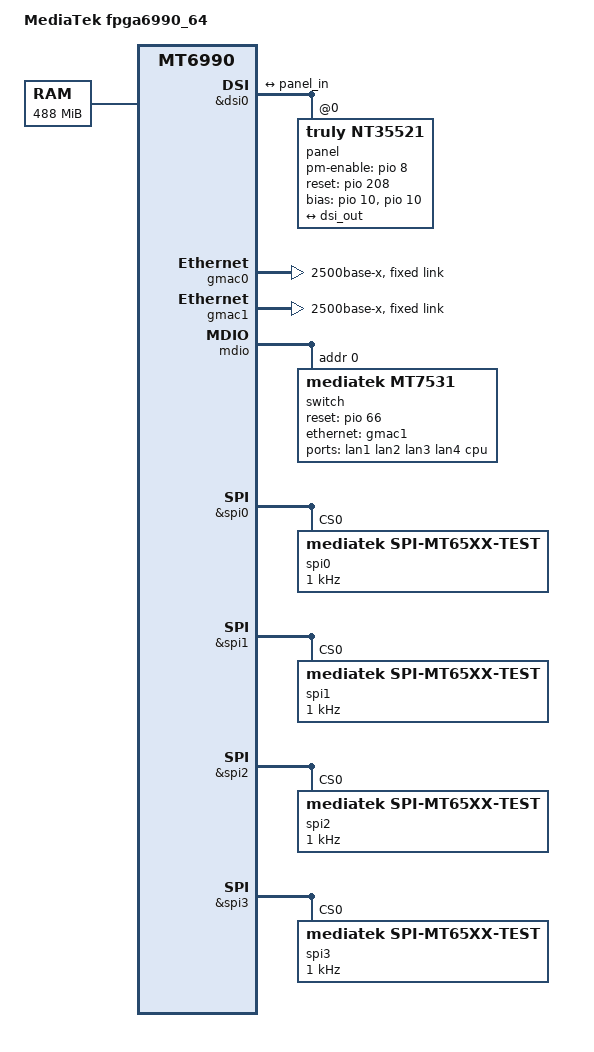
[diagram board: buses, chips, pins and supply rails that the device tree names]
// SPDX-License-Identifier: GPL-2.0
/*
 * Copyright (c) 2019 MediaTek Inc.
 */

/dts-v1/;
#include <dt-bindings/interrupt-controller/irq.h>
#include <dt-bindings/interrupt-controller/arm-gic.h>
#include "mt6990.dtsi"


/ {
	model = "MediaTek fpga6990_64";
	compatible = "mediatek,fpga6990_64", "mediatek,mt6990";

	memory@80000000 {
		device_type = "memory";
		reg = <0 0x80000000 0 0x1e800000>;
	};

	chosen {
		bootargs = "console=tty0 console=ttyS0,921600n1 \
		init=/etc/preinit root=/dev/ubiblock0_0 rootfstype=squashfs ubi.mtd=21 \
		androidboot.selinux=permissive androidboot.hardware=mt6990 \
		earlycon=mtk8250,mmio32,0x11002000 \
		mtk_printk_ctrl.disable_uart=0";
	};

};

/* GPS GPIO standardization start */
#if 1
&pio {

	eth_gpio_default: mdio_default {
		mux {
			pinmux = <PINMUX_GPIO61__FUNC_GPIO61>;
		};
	};

	eth_smi_mdio_pinctl: eth_smi_mdio_pinctl {
		mux {
			pinmux = <PINMUX_GPIO69__FUNC_GPIO69>;
		};
	};

	eth_smi_mdc_pinctl: eth_smi_mdc_pinctl {
		mux {
			pinmux = <PINMUX_GPIO69__FUNC_GPIO69>;
		};
	};

	pcie0_pins_default: pcie0-default {
		mux {
			pinmux = <PINMUX_GPIO69__FUNC_GPIO69>;
			bias-pull-up;
		};
	};

	pcie1_pins_default: pcie1-default {
		mux {
			pinmux = < PINMUX_GPIO69__FUNC_GPIO69>;
			bias-pull-up;
		};
	};

	pcie2_pins_default: pcie2-default {
		mux {
			pinmux = < PINMUX_GPIO69__FUNC_GPIO69>;
			bias-pull-up;
		};
	};

	pcie3_pins_default: pcie3-default {
		mux {
			pinmux = < PINMUX_GPIO69__FUNC_GPIO69>;
			bias-pull-up;
		};
	};

	gps_pins_default: gps_default {
	};

	gps_l1_lna_pins_ol: gps_l1_lna@0 {
		pins_cmd_dat {
			pinmux = <PINMUX_GPIO125__FUNC_GPIO125>;
			output-low;
		};
	};
	gps_l1_lna_pins_dsp_ctrl: gps_l1_lna@1 {
		pins_cmd_dat {
			pinmux = < PINMUX_GPIO69__FUNC_GPIO69>;
		};
	};
	gps_l1_lna_pins_oh: gps_l1_lna@2 {
		pins_cmd_dat {
			pinmux = <PINMUX_GPIO125__FUNC_GPIO125>;
			output-high;
		};
	};

	gps_l5_lna_pins_ol: gps_l5_lna@0 {
		pins_cmd_dat {
			pinmux = <PINMUX_GPIO126__FUNC_GPIO126>;
			output-low;
		};
	};
	gps_l5_lna_pins_dsp_ctrl: gps_l5_lna@1 {
		pins_cmd_dat {
			pinmux = <PINMUX_GPIO69__FUNC_GPIO69>;
		};
	};
	gps_l5_lna_pins_oh: gps_l5_lna@2 {
		pins_cmd_dat {
			pinmux = <PINMUX_GPIO126__FUNC_GPIO126>;
			output-high;
		};
	};
};

#endif
/* GPS GPIO standardization end */

/* usb typec swtich */
&pio {
	c1_active: c1_high {
		pins_cmd_dat {
			pinmux = <PINMUX_GPIO95__FUNC_GPIO95>;
			output-high;
		};
	};

	c2_active: c2_highz {
		pins_cmd_dat {
			pinmux = <PINMUX_GPIO94__FUNC_GPIO94>;
			input-enable;
			bias-disable;
		};
	};

	c1_sleep: c1_low {
		pins_cmd_dat {
			pinmux = <PINMUX_GPIO95__FUNC_GPIO95>;
			output-low;
		};
	};

	c2_sleep: c2_low {
		pins_cmd_dat {
			pinmux = <PINMUX_GPIO94__FUNC_GPIO94>;
			output-low;
		};
	};

	sel_up: sel_high {
		pins_cmd_dat {
			pinmux = <PINMUX_GPIO93__FUNC_GPIO93>;
			output-high;
		};
	};

	sel_down: sel_low {
		pins_cmd_dat {
			pinmux = <PINMUX_GPIO93__FUNC_GPIO93>;
			output-low;
		};
	};

	sw_enable: sw_enable {
		pins_cmd_dat {
			pinmux = <PINMUX_GPIO92__FUNC_GPIO92>;
			output-low;
		};
	};

	sw_disable: sw_disable {
		pins_cmd_dat {
			pinmux = <PINMUX_GPIO92__FUNC_GPIO92>;
			output-low;
		};
	};
	kpd_gpios_def_cfg: kpdgpiodefault {
		pins_cmd_dat {
			pinmux = <PINMUX_GPIO69__FUNC_GPIO69>;
			mediatek,pull-down-adv = <MTK_PUPD_SET_R1R0_01>;
			output-low;
			input-schmitt-enable;
		};
	};
};

&keypad {
	mediatek,key-debounce-ms = <1024>;
	/*HW Keycode [0~71] -> Linux Keycode*/
	mediatek,hw-map-num = <72>;
	mediatek,hw-init-map = <0 0 114 0 0 0 0 0 0 0 0 0 0 0 0 115 0 0 0 0 0 0 0
		0 0 0 0 0 112 0 0 0 0 0 0 0 0 0 0 0 0 0 0 0 0 0 0 0 0 0 0 0 0 0 0
		0 0 0 0 0 0 0 0 0 0 0 0 0 0 0 0 0 >;
	status = "okay";
	pinctrl-names = "default";
	pinctrl-0 = <&kpd_gpios_def_cfg>;
};

&pio {
	nandc_pins_default: nandcdefault {
		pins0 {
			pinmux = <PINMUX_GPIO69__FUNC_GPIO69>;
			drive-strength = <MTK_DRIVE_4mA>;
			bias-pull-down;
		};
		pins1 {
			pinmux = <PINMUX_GPIO69__FUNC_GPIO69>;
			drive-strength = <MTK_DRIVE_4mA>;
			bias-pull-up;
		};
	};
};

&nandc {
	status = "okay";
};

&ssusb {
	phys = <&u3fpgaport0 PHY_TYPE_USB3>;
	plat_type = <1>; /* FPGA */
	fpga_phy = <3>; /* A60931 */
	/*dr_mode = "peripheral";*/
	status = "okay";
};

&u3fpgaphy {
	status = "okay";
};

&u3phy {
	status = "disabled";
};

&spi0 {
	status = "okay";
	#address-cells=<1>;
	#size-cells=<0>;

	proslic_spi0: proslic_spi0@0 {
		compatible = "silabs,proslic_spi";
		#sound-dai-cells = <0>;
		reg = <0>;
		spi-max-frequency = <24000000>;
		spi-cpha = <1>;
		spi-cpol = <1>;
		channel_count = <1>;
		debug_level = <7>;       /* 1 = TRC, 2 = DBG, 4 = ERR */
		reset_gpio = <&pio 14 0>;       /* Hz */
		ig,enable-spi = <1>;                /* 1: Enable, 0: Disable */
	};
};

&spi3 {
	status = "okay";
	#address-cells=<1>;
	#size-cells=<0>;

	proslic_spi: proslic_spi@0 {
		compatible = "silabs,proslic_spi";
		#sound-dai-cells = <0>;
		reg = <0>;
		spi-max-frequency = <24000000>;
		spi-cpha = <1>;
		spi-cpol = <1>;
		channel_count = <1>;
		debug_level = <7>;       /* 1 = TRC, 2 = DBG, 4 = ERR */
		reset_gpio = <&pio 12 0>;       /* Hz */
		ig,enable-spi = <1>;                /* 1: Enable, 0: Disable */
	};
};

/* AUDIO GPIO standardization */
&afe {
	pinctrl-names =
			"aud_gpio_i2s0_off", "aud_gpio_i2s0_on",
			"aud_gpio_i2s1_off", "aud_gpio_i2s1_on",
			"aud_gpio_i2s2_off", "aud_gpio_i2s2_on",
			"aud_gpio_i2s3_off", "aud_gpio_i2s3_on",
			"aud_gpio_i2s4_off", "aud_gpio_i2s4_on",
			"aud_gpio_i2s5_off", "aud_gpio_i2s5_on",
			"aud_gpio_i2s6_off", "aud_gpio_i2s6_on",
			"aud_gpio_proslic_off", "aud_gpio_proslic_on",
			"aud_gpio_tdm_off", "aud_gpio_tdm_on",
			"extamp-pullhigh", "extamp-pulllow",
			"aud_gpio_pcm0_off", "aud_gpio_pcm0_on",
			"aud_gpio_pcm1_off", "aud_gpio_pcm1_on",
			"aud_gpio_voltage_off", "aud_gpio_voltage_on";
	pinctrl-0 = <&aud_gpio_i2s0_off>;
	pinctrl-1 = <&aud_gpio_i2s0_on>;
	pinctrl-2 = <&aud_gpio_i2s1_off>;
	pinctrl-3 = <&aud_gpio_i2s1_on>;
	pinctrl-4 = <&aud_gpio_i2s2_off>;
	pinctrl-5 = <&aud_gpio_i2s2_on>;
	pinctrl-6 = <&aud_gpio_i2s3_off>;
	pinctrl-7 = <&aud_gpio_i2s3_on>;
	pinctrl-8 = <&aud_gpio_i2s4_off>;
	pinctrl-9 = <&aud_gpio_i2s4_on>;
	pinctrl-10 = <&aud_gpio_i2s5_off>;
	pinctrl-11 = <&aud_gpio_i2s5_on>;
	pinctrl-12 = <&aud_gpio_i2s6_off>;
	pinctrl-13 = <&aud_gpio_i2s6_on>;
	pinctrl-14 = <&aud_gpio_proslic_off>;
	pinctrl-15 = <&aud_gpio_proslic_on>;
	pinctrl-16 = <&aud_gpio_tdm_off>;
	pinctrl-17 = <&aud_gpio_tdm_on>;
	pinctrl-18 = <&aud_pins_extamp_high>;
	pinctrl-19 = <&aud_pins_extamp_low>;
	pinctrl-20 = <&aud_gpio_pcm0_off>;
	pinctrl-21 = <&aud_gpio_pcm0_on>;
	pinctrl-22 = <&aud_gpio_pcm1_off>;
	pinctrl-23 = <&aud_gpio_pcm1_on>;
	pinctrl-24 = <&aud_gpio_voltage_off>;
	pinctrl-25 = <&aud_gpio_voltage_on>;
	status = "okay";
};

&pio {
	aud_gpio_i2s0_off: aud_gpio_i2s0_off {
		pins_cmd0_dat {
			pinmux = <PINMUX_GPIO32__FUNC_GPIO32>;
			input-enable;
			bias-pull-down;
		};
		pins_cmd1_dat {
			pinmux = <PINMUX_GPIO28__FUNC_GPIO28>;
			input-enable;
			bias-pull-down;
		};
		pins_cmd2_dat {
			pinmux = <PINMUX_GPIO29__FUNC_GPIO29>;
			input-enable;
			bias-pull-down;
		};
		pins_cmd3_dat {
			pinmux = <PINMUX_GPIO30__FUNC_GPIO30>;
			input-enable;
			bias-pull-down;
		};
	};
	aud_gpio_i2s0_on: aud_gpio_i2s0_on {
		pins_cmd0_dat {
			pinmux = <PINMUX_GPIO32__FUNC_I2S0_MCK>;
			input-schmitt-enable;
			bias-disable;
		};
		pins_cmd1_dat {
			pinmux = <PINMUX_GPIO28__FUNC_I2S0_BCK>;
			input-schmitt-enable;
			bias-disable;
		};
		pins_cmd2_dat {
			pinmux = <PINMUX_GPIO29__FUNC_I2S0_LRCK>;
			input-schmitt-enable;
			bias-disable;
		};
		pins_cmd3_dat {
			pinmux = <PINMUX_GPIO30__FUNC_I2S0_DI>;
			input-schmitt-enable;
			bias-disable;
		};
	};
	aud_gpio_i2s1_off: aud_gpio_i2s1_off {
		pins_cmd0_dat {
			pinmux = <PINMUX_GPIO99__FUNC_GPIO99>;
			input-enable;
			bias-pull-down;
		};
		pins_cmd1_dat {
			pinmux = <PINMUX_GPIO100__FUNC_GPIO100>;
			input-enable;
			bias-pull-down;
		};
		pins_cmd2_dat {
			pinmux = <PINMUX_GPIO101__FUNC_GPIO101>;
			input-enable;
			bias-pull-down;
		};
		pins_cmd3_dat {
			pinmux = <PINMUX_GPIO103__FUNC_GPIO103>;
			input-enable;
			bias-pull-down;
		};
	};
	aud_gpio_i2s1_on: aud_gpio_i2s1_on {
		pins_cmd0_dat {
			pinmux = <PINMUX_GPIO99__FUNC_I2S2_MCK>;
			input-schmitt-enable;
			bias-disable;
		};
		pins_cmd1_dat {
			pinmux = <PINMUX_GPIO100__FUNC_I2S2_BCK>;
			input-schmitt-enable;
			bias-disable;
		};
		pins_cmd2_dat {
			pinmux = <PINMUX_GPIO101__FUNC_I2S2_LRCK>;
			input-schmitt-enable;
			bias-disable;
		};
		pins_cmd3_dat {
			pinmux = <PINMUX_GPIO103__FUNC_I2S1_DO>;
			input-schmitt-enable;
			bias-disable;
		};
	};
	aud_gpio_i2s2_off: aud_gpio_i2s2_off {
		pins_cmd0_dat {
			pinmux = <PINMUX_GPIO99__FUNC_GPIO99>;
			input-enable;
			bias-pull-down;
		};
		pins_cmd1_dat {
			pinmux = <PINMUX_GPIO100__FUNC_GPIO100>;
			input-enable;
			bias-pull-down;
		};
		pins_cmd2_dat {
			pinmux = <PINMUX_GPIO101__FUNC_GPIO101>;
			input-enable;
			bias-pull-down;
		};
		pins_cmd3_dat {
			pinmux = <PINMUX_GPIO102__FUNC_GPIO102>;
			input-enable;
			bias-pull-down;
		};
	};
	aud_gpio_i2s2_on: aud_gpio_i2s2_on {
		pins_cmd0_dat {
			pinmux = <PINMUX_GPIO99__FUNC_I2S2_MCK>;
			input-schmitt-enable;
			bias-disable;
		};
		pins_cmd1_dat {
			pinmux = <PINMUX_GPIO100__FUNC_I2S2_BCK>;
			input-schmitt-enable;
			bias-disable;
		};
		pins_cmd2_dat {
			pinmux = <PINMUX_GPIO101__FUNC_I2S2_LRCK>;
			input-schmitt-enable;
			bias-disable;
		};
		pins_cmd3_dat {
			pinmux = <PINMUX_GPIO102__FUNC_I2S2_DI>;
			input-schmitt-enable;
			bias-disable;
		};
	};
	aud_gpio_i2s3_off: aud_gpio_i2s3_off {
		pins_cmd0_dat {
			pinmux = <PINMUX_GPIO32__FUNC_GPIO32>;
			input-enable;
			bias-pull-down;
		};
		pins_cmd1_dat {
			pinmux = <PINMUX_GPIO28__FUNC_GPIO28>;
			input-enable;
			bias-pull-down;
		};
		pins_cmd2_dat {
			pinmux = <PINMUX_GPIO29__FUNC_GPIO29>;
			input-enable;
			bias-pull-down;
		};
		pins_cmd3_dat {
			pinmux = <PINMUX_GPIO31__FUNC_GPIO31>;
			input-enable;
			bias-pull-down;
		};
	};
	aud_gpio_i2s3_on: aud_gpio_i2s3_on {
		pins_cmd0_dat {
			pinmux = <PINMUX_GPIO32__FUNC_I2S0_MCK>;
			input-schmitt-enable;
			bias-disable;
		};
		pins_cmd1_dat {
			pinmux = <PINMUX_GPIO28__FUNC_I2S0_BCK>;
			input-schmitt-enable;
			bias-disable;
		};
		pins_cmd2_dat {
			pinmux = <PINMUX_GPIO29__FUNC_I2S0_LRCK>;
			input-schmitt-enable;
			bias-disable;
		};
		pins_cmd3_dat {
			pinmux = <PINMUX_GPIO31__FUNC_I2S0_DO>;
			input-schmitt-enable;
			bias-disable;
		};
	};
	aud_gpio_i2s4_off: aud_gpio_i2s4_off {
		pins_cmd0_dat {
			pinmux = <PINMUX_GPIO13__FUNC_GPIO13>;
			input-enable;
			bias-pull-down;
		};
		pins_cmd1_dat {
			pinmux = <PINMUX_GPIO14__FUNC_GPIO14>;
			input-enable;
			bias-pull-down;
		};
		pins_cmd2_dat {
			pinmux = <PINMUX_GPIO15__FUNC_GPIO15>;
			input-enable;
			bias-pull-down;
		};
		pins_cmd3_dat {
			pinmux = <PINMUX_GPIO16__FUNC_GPIO16>;
			input-enable;
			bias-pull-down;
		};
	};
	aud_gpio_i2s4_on: aud_gpio_i2s4_on {
		pins_cmd0_dat {
			pinmux = <PINMUX_GPIO13__FUNC_I2S4_MCK>;
			input-schmitt-enable;
			bias-disable;
		};
		pins_cmd1_dat {
			pinmux = <PINMUX_GPIO14__FUNC_I2S4_BCK>;
			input-schmitt-enable;
			bias-disable;
		};
		pins_cmd2_dat {
			pinmux = <PINMUX_GPIO15__FUNC_I2S4_LRCK>;
			input-schmitt-enable;
			bias-disable;
		};
		pins_cmd3_dat {
			pinmux = <PINMUX_GPIO16__FUNC_I2S4_DI>;
			input-schmitt-enable;
			bias-disable;
		};
	};
	aud_gpio_i2s5_off: aud_gpio_i2s5_off {
		pins_cmd0_dat {
			pinmux = <PINMUX_GPIO13__FUNC_GPIO13>;
			input-enable;
			bias-pull-down;
		};
		pins_cmd1_dat {
			pinmux = <PINMUX_GPIO14__FUNC_GPIO14>;
			input-enable;
			bias-pull-down;
		};
		pins_cmd2_dat {
			pinmux = <PINMUX_GPIO15__FUNC_GPIO15>;
			input-enable;
			bias-pull-down;
		};
		pins_cmd3_dat {
			pinmux = <PINMUX_GPIO17__FUNC_GPIO17>;
			input-enable;
			bias-pull-down;
		};
	};
	aud_gpio_i2s5_on: aud_gpio_i2s5_on {
		pins_cmd0_dat {
			pinmux = <PINMUX_GPIO13__FUNC_I2S4_MCK>;
			input-schmitt-enable;
			bias-disable;
		};
		pins_cmd1_dat {
			pinmux = <PINMUX_GPIO14__FUNC_I2S4_BCK>;
			input-schmitt-enable;
			bias-disable;
		};
		pins_cmd2_dat {
			pinmux = <PINMUX_GPIO15__FUNC_I2S4_LRCK>;
			input-schmitt-enable;
			bias-disable;
		};
		pins_cmd3_dat {
			pinmux = <PINMUX_GPIO17__FUNC_I2S5_DO>;
			input-schmitt-enable;
			bias-disable;
		};
	};
	aud_gpio_i2s6_off: aud_gpio_i2s6_off {
		pins_cmd0_dat {
			pinmux = <PINMUX_GPIO8__FUNC_GPIO8>;
			input-enable;
			bias-pull-down;
		};
		pins_cmd1_dat {
			pinmux = <PINMUX_GPIO9__FUNC_GPIO9>;
			input-enable;
			bias-pull-down;
		};
		pins_cmd2_dat {
			pinmux = <PINMUX_GPIO10__FUNC_GPIO10>;
			input-enable;
			bias-pull-down;
		};
		pins_cmd3_dat {
			pinmux = <PINMUX_GPIO11__FUNC_GPIO11>;
			input-enable;
			bias-pull-down;
		};
		pins_cmd4_dat {
			pinmux = <PINMUX_GPIO12__FUNC_GPIO12>;
			input-enable;
			bias-pull-down;
		};
	};
	aud_gpio_i2s6_on: aud_gpio_i2s6_on {
		pins_cmd0_dat {
			pinmux = <PINMUX_GPIO8__FUNC_I2S6_MCK>;
			input-schmitt-enable;
			bias-disable;
		};
		pins_cmd1_dat {
			pinmux = <PINMUX_GPIO9__FUNC_I2S6_BCK>;
			input-schmitt-enable;
			bias-disable;
		};
		pins_cmd2_dat {
			pinmux = <PINMUX_GPIO10__FUNC_I2S6_LRCK>;
			input-schmitt-enable;
			bias-disable;
		};
		pins_cmd3_dat {
			pinmux = <PINMUX_GPIO11__FUNC_I2S6_DI>;
			input-schmitt-enable;
			bias-disable;
		};
		pins_cmd4_dat {
			pinmux = <PINMUX_GPIO12__FUNC_I2S6_DI2>;
			input-schmitt-enable;
			bias-disable;
		};
	};
	aud_gpio_proslic_off: aud_gpio_proslic_off {
		pins_cmd0_dat {
			pinmux = <PINMUX_GPIO95__FUNC_GPIO95>;
			input-enable;
			bias-pull-down;
		};
		pins_cmd1_dat {
			pinmux = <PINMUX_GPIO96__FUNC_GPIO96>;
			input-enable;
			bias-pull-down;
		};
		pins_cmd2_dat {
			pinmux = <PINMUX_GPIO97__FUNC_GPIO97>;
			input-enable;
			bias-pull-down;
		};
		pins_cmd3_dat {
			pinmux = <PINMUX_GPIO98__FUNC_GPIO98>;
			input-enable;
			bias-pull-down;
		};
	};
	aud_gpio_proslic_on: aud_gpio_proslic_on {
		pins_cmd0_dat {
			pinmux = <PINMUX_GPIO95__FUNC_PCM0_CLK>;
			bias-disable;
		};
		pins_cmd1_dat {
			pinmux = <PINMUX_GPIO96__FUNC_PCM0_SYNC>;
			bias-disable;
		};
		pins_cmd2_dat {
			pinmux = <PINMUX_GPIO97__FUNC_PCM0_DI>;
			bias-disable;
		};
		pins_cmd3_dat {
			pinmux = <PINMUX_GPIO98__FUNC_PCM0_DO>;
			bias-disable;
		};
	};
	aud_gpio_tdm_off: aud_gpio_tdm_off {
		pins_cmd_dat {
			pinmux = <PINMUX_GPIO21__FUNC_GPIO21>,
				 <PINMUX_GPIO22__FUNC_GPIO22>,
				 <PINMUX_GPIO23__FUNC_GPIO23>,
				 <PINMUX_GPIO24__FUNC_GPIO24>,
				 <PINMUX_GPIO25__FUNC_GPIO25>,
				 <PINMUX_GPIO26__FUNC_GPIO26>,
				 <PINMUX_GPIO27__FUNC_GPIO27>;
		};
	};
	aud_gpio_tdm_on: aud_gpio_tdm_on {
		pins_cmd_dat {
			pinmux = <PINMUX_GPIO21__FUNC_TDM_LRCK>,
				 <PINMUX_GPIO22__FUNC_TDM_BCK>,
				 <PINMUX_GPIO23__FUNC_TDM_MCK>,
				 <PINMUX_GPIO24__FUNC_TDM_DATA0>,
				 <PINMUX_GPIO25__FUNC_TDM_DATA1>,
				 <PINMUX_GPIO26__FUNC_TDM_DATA2>,
				 <PINMUX_GPIO27__FUNC_TDM_DATA3>;
		};
	};
	aud_pins_extamp_high: audexamphigh {
		pins_cmd0_dat {
			pinmux = <PINMUX_GPIO21__FUNC_GPIO21>;
			output-high;
		};
	};
	aud_pins_extamp_low: audexamplow {
		pins_cmd0_dat {
			pinmux = <PINMUX_GPIO21__FUNC_GPIO21>;
			input-enable;
			bias-pull-down;
		};
	};

	aud_gpio_pcm0_off: aud_gpio_pcm0_off {
		pins_cmd0_dat {
			pinmux = <PINMUX_GPIO14__FUNC_GPIO14>;
			input-enable;
			bias-pull-down;
		};
		pins_cmd1_dat {
			pinmux = <PINMUX_GPIO15__FUNC_GPIO15>;
			input-enable;
			bias-pull-down;
		};
		pins_cmd2_dat {
			pinmux = <PINMUX_GPIO16__FUNC_GPIO16>;
			input-enable;
			bias-pull-down;
		};
		pins_cmd3_dat {
			pinmux = <PINMUX_GPIO17__FUNC_GPIO17>;
			input-enable;
			bias-pull-down;
		};
	};
	aud_gpio_pcm0_on: aud_gpio_pcm0_on {
		pins_cmd0_dat {
			pinmux = <PINMUX_GPIO14__FUNC_PCM0_CLK>;
			bias-disable;
		};
		pins_cmd1_dat {
			pinmux = <PINMUX_GPIO15__FUNC_PCM0_SYNC>;
			bias-disable;
		};
		pins_cmd2_dat {
			pinmux = <PINMUX_GPIO16__FUNC_PCM0_DI>;
			bias-disable;
		};
		pins_cmd3_dat {
			pinmux = <PINMUX_GPIO17__FUNC_PCM0_DO>;
			bias-disable;
		};
	};

	aud_gpio_pcm1_off: aud_gpio_pcm1_off {
		pins_cmd0_dat {
			pinmux = <PINMUX_GPIO28__FUNC_GPIO28>;
			input-enable;
			bias-pull-down;
		};
		pins_cmd1_dat {
			pinmux = <PINMUX_GPIO29__FUNC_GPIO29>;
			input-enable;
			bias-pull-down;
		};
		pins_cmd2_dat {
			pinmux = <PINMUX_GPIO30__FUNC_GPIO30>;
			input-enable;
			bias-pull-down;
		};
		pins_cmd3_dat {
			pinmux = <PINMUX_GPIO31__FUNC_GPIO31>;
			input-enable;
			bias-pull-down;
		};
	};
	aud_gpio_pcm1_on: aud_gpio_pcm1_on {
		pins_cmd0_dat {
			pinmux = <PINMUX_GPIO28__FUNC_PCM1_CLK>;
			bias-disable;
		};
		pins_cmd1_dat {
			pinmux = <PINMUX_GPIO29__FUNC_PCM1_SYNC>;
			bias-disable;
		};
		pins_cmd2_dat {
			pinmux = <PINMUX_GPIO30__FUNC_PCM1_DI>;
			bias-disable;
		};
		pins_cmd3_dat {
			pinmux = <PINMUX_GPIO31__FUNC_PCM1_DO>;
			bias-disable;
		};
	};
	aud_gpio_voltage_on: aud_gpio_voltage_on {
		pins_cmd0_dat {
			pinmux = <PINMUX_GPIO7__FUNC_GPIO7>;
			output-high;
		};
	};
	aud_gpio_voltage_off: aud_gpio_voltage_off {
		pins_cmd0_dat {
			pinmux = <PINMUX_GPIO7__FUNC_GPIO7>;
			input-enable;
			bias-pull-down;
		};
	};
};
/* AUDIO GPIO standardization end */

/* DBI type swtich */
/*
&pio {
	dbi_pins_default: dbi_pins_default {
		pins_cmd_dat {
			pinmux = <PINMUX_GPIO192__FUNC_GPIO192>;
			drive-strength = <MTK_DRIVE_4mA>;
			bias-pull-up;
		};
	};

	dbi_pins_type_b_9bits: dbi_pins_type_b_9bits {
		pins_cmd_dat {
			pinmux = <PINMUX_GPIO192__FUNC_LPTE>,
				<PINMUX_GPIO194__FUNC_LPWRB>,
				<PINMUX_GPIO195__FUNC_LPRDB>,
				<PINMUX_GPIO196__FUNC_LPA0>,
				<PINMUX_GPIO197__FUNC_LPCE0B>,
				<PINMUX_GPIO198__FUNC_NLD8>,
				<PINMUX_GPIO199__FUNC_LPRSTB>;
			drive-strength = <MTK_DRIVE_4mA>;
			bias-pull-up;
		};
          };

	dbi_pins_type_b_8bits: dbi_pins_type_b_8bits {
		pins_cmd_dat {
			pinmux =  <PINMUX_GPIO192__FUNC_LPTE>,
				<PINMUX_GPIO194__FUNC_LPWRB>,
				<PINMUX_GPIO195__FUNC_LPRDB>,
				<PINMUX_GPIO196__FUNC_LPA0>,
				<PINMUX_GPIO197__FUNC_LPCE0B>,
				<PINMUX_GPIO198__FUNC_GPIO198>,
				<PINMUX_GPIO199__FUNC_LPRSTB>;
			drive-strength = <MTK_DRIVE_4mA>;
			bias-pull-up;
		};
          };

          dbi_pins_type_c: dbi_pins_type_c {
		pins_cmd_dat {
			pinmux =  <PINMUX_GPIO192__FUNC_LPTE>,
				<PINMUX_GPIO194__FUNC_LSCK>,
				<PINMUX_GPIO195__FUNC_LSDA>,
				<PINMUX_GPIO196__FUNC_LSA0>,
				<PINMUX_GPIO197__FUNC_LSCE0B>,
				<PINMUX_GPIO198__FUNC_LSDI>,
				<PINMUX_GPIO199__FUNC_LPRSTB>;
			drive-strength = <MTK_DRIVE_4mA>;
			bias-pull-up;
		};
	};

	co_nfi_data_pin: co_nfi_data_pin {
		pins_cmd_dat {
			pinmux =  <PINMUX_GPIO212__FUNC_NLD0>,
				<PINMUX_GPIO213__FUNC_NLD1>,
				<PINMUX_GPIO214__FUNC_NLD2>,
				<PINMUX_GPIO215__FUNC_NLD3>,
				<PINMUX_GPIO216__FUNC_NLD4>,
				<PINMUX_GPIO217__FUNC_NLD5>,
				<PINMUX_GPIO218__FUNC_NLD6>,
				<PINMUX_GPIO219__FUNC_NLD7>;
			drive-strength = <MTK_DRIVE_4mA>;
			bias-pull-up;
		};
	};
};

&dbi0 {
	pinctrl-names = "default", "type_b_9bits", "type_b_8bits", "type_c", "co_nfi_data_pin";
	pinctrl-0 = <&dbi_pins_default>;
	pinctrl-1 = <&dbi_pins_type_b_9bits>;
	pinctrl-2 = <&dbi_pins_type_b_8bits>;
	pinctrl-3 = <&dbi_pins_type_c>;
	pinctrl-4 = <&co_nfi_data_pin>;
	status = "okay";
};
*/

&dsi0 {
	status = "okay";
	#address-cells = <1>;
	#size-cells = <0>;
	panel@0 {
		compatible = "truly,nt35521";
		reg = <0>;
		pm-enable-gpios = <&pio 8 GPIO_ACTIVE_HIGH>;
		reset-gpios = <&pio 208 GPIO_ACTIVE_HIGH>;
		bias-gpios = <&pio 10 GPIO_ACTIVE_HIGH>,
			<&pio 10 0>;
		pinctrl-names = "default";
		port {
			panel_in: endpoint {
				remote-endpoint = <&dsi_out>;
			};
		};
	};
	ports {
		port {
			dsi_out: endpoint {
				remote-endpoint = <&panel_in>;
			};
		};
	};
};

&eth {
/*	pinctrl-names = "eth_gpio_default",
		"eth_smi_mdio_pinctl",
		"eth_smi_mdc_pinctl";
	pinctrl-0 = <&eth_gpio_default>;
	pinctrl-1 = <&eth_smi_mdio_pinctl>;
	pinctrl-2 = <&eth_smi_mdc_pinctl>;*/
	status = "okay";
	gmac0: mac@0 {
		compatible = "mediatek,eth-mac";
		reg = <0>;
		phy-mode = "2500base-x";
		fixed-link {
			speed = <2500>;
			full-duplex;
			pause;
		};
	};
	gmac1: mac@1 {
		compatible = "mediatek,eth-mac";
		reg = <1>;
		phy-mode = "2500base-x";
		fixed-link {
			speed = <2500>;
			full-duplex;
			pause;
		};
	};
	mdio: mdio-bus {
		#address-cells = <1>;
		#size-cells = <0>;

		switch@0 {
			compatible = "mediatek,mt7531";
			reg = <0>;
			reset-gpios = <&pio 66 0>;

			ports {
				#address-cells = <1>;
				#size-cells = <0>;

				port@0 {
					reg = <0>;
					label = "lan1";
				};

				port@1 {
					reg = <1>;
					label = "lan2";
				};

				port@2 {
					reg = <2>;
					label = "lan3";
				};

				port@3 {
					reg = <3>;
					label = "lan4";
				};

				port@5 {
					reg = <5>;
					label = "cpu";
					ethernet = <&gmac1>;
					phy-mode = "2500base-x";

					fixed-link {
						speed = <2500>;
						full-duplex;
						pause;
					};
				};
			};
		};
	};
};

&spi0 {
	#address-cells = <1>;
	#size-cells = <0>;
	status = "okay";
	spi0@0 {
		compatible = "mediatek,spi-mt65xx-test";
		reg = <0>;
		spi-max-frequency = <1000>;
	};
};

&spi1 {
	#address-cells = <1>;
	#size-cells = <0>;
	status = "okay";
	spi1@1 {
		compatible = "mediatek,spi-mt65xx-test";
		reg = <0>;
		spi-max-frequency = <1000>;
	};
};

&spi2 {
	#address-cells = <1>;
	#size-cells = <0>;
	status = "okay";
	spi2@2 {
		compatible = "mediatek,spi-mt65xx-test";
		reg = <0>;
		spi-max-frequency = <1000>;
	};
};

&spi3 {
	#address-cells = <1>;
	#size-cells = <0>;
	status = "okay";
	spi3@3 {
		compatible = "mediatek,spi-mt65xx-test";
		reg = <0>;
		spi-max-frequency = <1000>;
	};
};

/*End of this file, DO NOT ADD ANYTHING HERE*/
